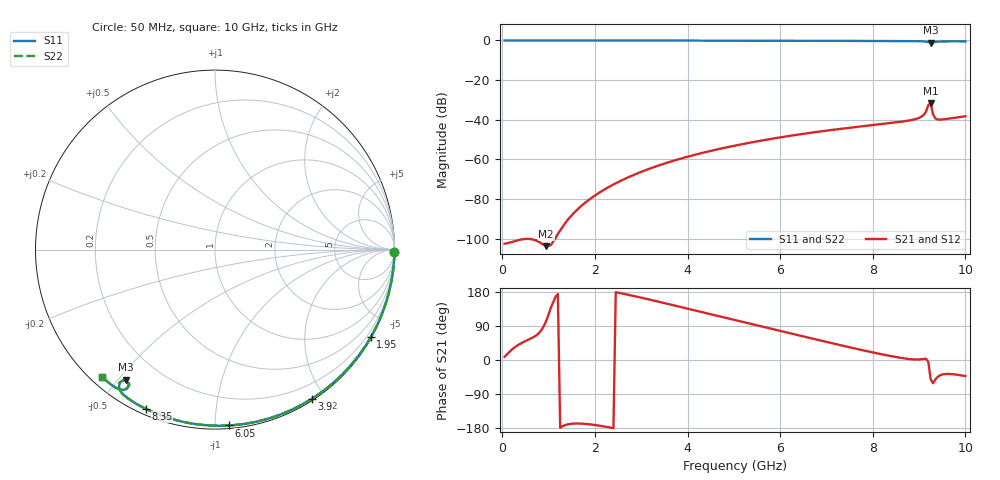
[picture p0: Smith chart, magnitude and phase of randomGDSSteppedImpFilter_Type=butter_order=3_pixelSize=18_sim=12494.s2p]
! freq	dB(S11)	phase(S11)	dB(S12)	phase(S12)
!  dB(S21)	phase(S21)	dB(S22)	phase(S22)
!S-par simulation data
#  GHz  S  DB  R 50
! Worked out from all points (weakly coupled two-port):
!   200 points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, 50 MHz to 10 GHz, reference 50 ohm
!   highest |S21| = -31.79 dB at 9.25 GHz (marker M1); lowest = -103.8 dB at 950 MHz (marker M2)
!   lowest |S11| = -1.1 dB at 9.25 GHz (marker M3), VSWR 15.50, Z = 4.12 - j26.2 ohm
!   |S11| at or under -10 dB: nowhere
!   |S22| runs from -1.1 to 0.0 dB; largest |S21 - S12| = 0
!   S11 on the Smith chart (normalised r, x): 50 MHz: open; 1.95 GHz: 0.03, -3.83; 3.9 GHz: 0.02, -1.84; 6.05 GHz: 0.02, -1.08; 8.35 GHz: 0.02, -0.65; 10 GHz: 0.03, -0.45
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0.05  -0.00 -0.8  -102.56 8.6  -102.56 8.6  -0.00 -0.8
0.95  -0.02 -14.4  -103.83 103.1  -103.83 103.1  -0.02 -14.4
1.75  -0.03 -26.3  -82.65 -168.2  -82.65 -168.2  -0.03 -26.3
1.9  -0.04 -28.5  -79.91 -169.9  -79.91 -169.9  -0.04 -28.5
1.95  -0.04 -29.3  -79.07 -170.7  -79.07 -170.7  -0.04 -29.3
2.55  -0.05 -38.0  -70.92 176.5  -70.92 176.5  -0.05 -38.0
3.4  -0.07 -50.1  -62.92 153.1  -62.92 153.1  -0.07 -50.1
3.9  -0.08 -57.1  -59.33 138.5  -59.33 138.5  -0.08 -57.1
5.05  -0.11 -72.6  -52.95 104.7  -52.95 104.7  -0.11 -72.6
6.05  -0.15 -85.5  -48.73 75.4  -48.73 75.4  -0.15 -85.5
6.7  -0.18 -93.6  -46.46 56.4  -46.46 56.4  -0.18 -93.6
8.35  -0.29 -113.5  -41.80 11.3  -41.80 11.3  -0.29 -113.5
8.8  -0.34 -119.2  -40.33 2.4  -40.33 2.4  -0.34 -119.2
9  -0.39 -122.1  -39.08 1.4  -39.08 1.4  -0.38 -122.0
9.1  -0.48 -123.9  -37.57 2.8  -37.57 2.8  -0.46 -123.8
9.15  -0.59 -124.9  -35.91 3.2  -35.91 3.2  -0.56 -124.8
9.2  -0.83 -125.7  -32.57 -5.0  -32.57 -5.0  -0.77 -125.7
9.25  -1.12 -124.4  -31.79 -50.9  -31.79 -50.9  -1.09 -125.0
9.3  -0.98 -122.3  -37.17 -61.2  -37.17 -61.2  -1.04 -122.6
9.35  -0.73 -122.4  -39.33 -51.7  -39.33 -51.7  -0.77 -122.4
9.4  -0.59 -123.2  -39.89 -44.7  -39.89 -44.7  -0.61 -123.2
10  -0.47 -131.5  -38.27 -42.5  -38.27 -42.5  -0.47 -131.5
